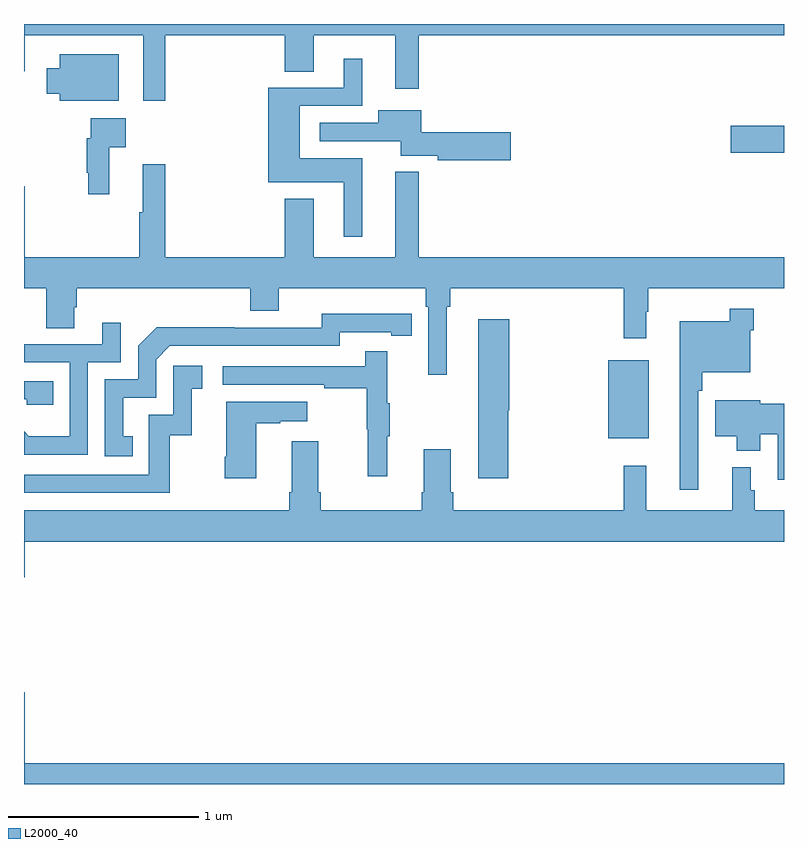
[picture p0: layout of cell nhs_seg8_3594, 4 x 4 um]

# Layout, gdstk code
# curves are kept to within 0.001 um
import gdstk
lib = gdstk.Library(unit=1e-6, precision=1e-09)
def R(c, l, rs):  # rectangles x0, y0, x1, y1
    for r in rs: c.add(gdstk.rectangle(r[:2], r[2:], *l))
def P(c, l, *ps):  # polygons
    for p in ps: c.add(gdstk.Polygon(p, *l))
L2000_40 = (2000, 40)

nhs_seg8_3594 = lib.new_cell('nhs_seg8_3594')
R(nhs_seg8_3594, L2000_40, [(336.074,1107.719,336.289,1108.129), (336.72,1109.222,337,1109.364)])
P(nhs_seg8_3594, L2000_40, [(333.743,1109.84),(334.373,1109.84),(334.373,1109.65),(334.525,1109.65),(334.525,1109.84),(334.955,1109.84),(334.955,1109.559),(335.077,1109.559),(335.077,1109.84),(337,1109.84),(337,1109.9),(333,1109.9),(333,1109.652),(333.004,1109.652),(333.004,1109.84),(333.627,1109.84),(333.627,1109.496),(333.743,1109.496)],
  [(333.499,1109.74),(333.188,1109.74),(333.188,1109.668),(333.119,1109.668),(333.119,1109.534),(333.188,1109.534),(333.188,1109.495),(333.499,1109.495)],
  [(334.78,1109.194),(334.45,1109.194),(334.45,1109.469),(334.78,1109.469),(334.78,1109.716),(334.682,1109.716),(334.682,1109.565),(334.286,1109.565),(334.286,1109.066),(334.682,1109.066),(334.682,1108.779),(334.78,1108.779)],
  [(335.563,1109.33),(335.092,1109.33),(335.092,1109.446),(334.865,1109.446),(334.865,1109.379),(334.557,1109.379),(334.557,1109.283),(334.982,1109.283),(334.982,1109.207),(335.178,1109.207),(335.178,1109.183),(335.563,1109.183)],
  [(333.449,1109.252),(333.535,1109.252),(333.535,1109.404),(333.351,1109.404),(333.351,1109.3),(333.331,1109.3),(333.331,1109.116),(333.339,1109.116),(333.339,1109.004),(333.449,1109.004)],
  [(335.224,1108.412),(335.243,1108.412),(335.243,1108.508),(336.157,1108.508),(336.157,1108.245),(336.274,1108.245),(336.274,1108.385),(336.286,1108.385),(336.286,1108.508),(337,1108.508),(337,1108.672),(335.077,1108.672),(335.077,1109.122),(334.955,1109.122),(334.955,1108.672),(334.525,1108.672),(334.525,1108.981),(334.373,1108.981),(334.373,1108.672),(333.743,1108.672),(333.743,1109.161),(333.626,1109.161),(333.626,1108.908),(333.607,1108.908),(333.607,1108.672),(333.004,1108.672),(333.004,1109.047),(333,1109.047),(333,1108.508),(333.118,1108.508),(333.118,1108.3),(333.265,1108.3),(333.265,1108.41),(333.278,1108.41),(333.278,1108.508),(334.19,1108.508),(334.19,1108.391),(334.342,1108.391),(334.342,1108.508),(335.114,1108.508),(335.114,1108.412),(335.127,1108.412),(335.127,1108.053),(335.224,1108.053)],
  [(336.549,1107.971),(336.569,1107.971),(336.569,1108.067),(336.822,1108.067),(336.822,1108.289),(336.842,1108.289),(336.842,1108.402),(336.714,1108.402),(336.714,1108.336),(336.452,1108.336),(336.452,1107.45),(336.549,1107.45)],
  [(333.572,1107.729),(333.523,1107.729),(333.523,1107.933),(333.696,1107.933),(333.696,1108.134),(333.768,1108.206),(334.662,1108.206),(334.662,1108.278),(334.934,1108.278),(334.934,1108.258),(335.042,1108.258),(335.042,1108.374),(334.566,1108.375),(334.566,1108.302),(334.106,1108.302),(334.106,1108.304),(333.698,1108.304),(333.6,1108.206),(333.6,1108.029),(333.426,1108.029),(333.426,1107.624),(333.572,1107.624)],
  [(335.549,1107.867),(335.554,1107.867),(335.554,1108.345),(335.39,1108.345),(335.39,1107.51),(335.549,1107.51)],
  [(333.336,1108.119),(333.51,1108.119),(333.51,1108.327),(333.413,1108.327),(333.413,1108.215),(333,1108.215),(333,1108.119),(333.24,1108.119),(333.24,1107.73),(333.026,1107.73),(333,1107.756),(333,1107.633),(333.336,1107.633)],
  [(334.913,1107.731),(334.924,1107.731),(334.924,1107.905),(334.913,1107.905),(334.913,1108.177),(334.795,1108.177),(334.795,1108.098),(334.047,1108.098),(334.047,1108.002),(334.579,1108.002),(334.579,1107.982),(334.803,1107.982),(334.803,1107.768),(334.81,1107.768),(334.81,1107.519),(334.913,1107.519)],
  [(333.766,1107.735),(333.884,1107.735),(333.884,1107.981),(333.937,1107.981),(333.937,1108.102),(333.786,1108.102),(333.786,1107.843),(333.657,1107.843),(333.657,1107.528),(333,1107.528),(333,1107.432),(333.766,1107.432)],
  [(333.155,1108.02),(333,1108.02),(333,1107.924),(333.015,1107.924),(333.015,1107.897),(333.155,1107.897)],
  [(337,1107.902),(336.874,1107.902),(336.874,1107.919),(336.638,1107.919),(336.638,1107.731),(336.752,1107.731),(336.752,1107.653),(336.874,1107.653),(336.874,1107.742),(336.968,1107.742),(336.968,1107.501),(337,1107.501)],
  [(334.222,1107.799),(334.349,1107.799),(334.349,1107.809),(334.492,1107.809),(334.492,1107.913),(334.064,1107.913),(334.064,1107.622),(334.057,1107.622),(334.057,1107.51),(334.222,1107.51)],
  [(333.004,1107.176),(337,1107.176),(337,1107.34),(336.845,1107.34),(336.845,1107.447),(336.826,1107.447),(336.826,1107.568),(336.728,1107.568),(336.728,1107.34),(336.275,1107.34),(336.275,1107.574),(336.157,1107.574),(336.157,1107.34),(335.258,1107.34),(335.258,1107.436),(335.245,1107.436),(335.245,1107.661),(335.105,1107.661),(335.105,1107.436),(335.093,1107.436),(335.093,1107.34),(334.562,1107.34),(334.562,1107.436),(334.549,1107.436),(334.549,1107.703),(334.409,1107.703),(334.409,1107.436),(334.397,1107.436),(334.397,1107.34),(333,1107.34),(333,1106.988),(333.004,1106.988)],
  [(337,1106.008),(333.004,1106.008),(333.004,1106.383),(333,1106.383),(333,1105.9),(337,1105.9)])

lib.write_gds('nhs_seg8_3594.gds')
